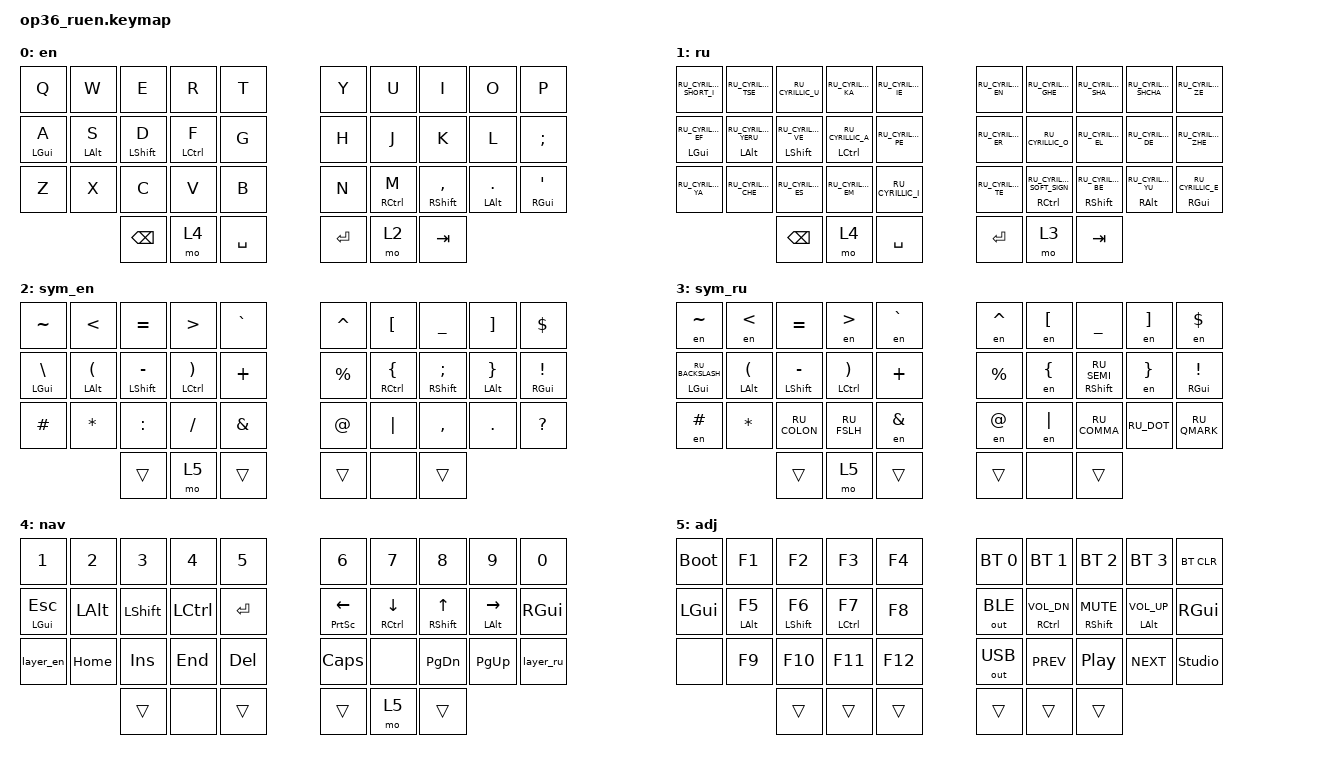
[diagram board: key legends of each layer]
#include "keys_ru.h"
#include "keys_ru.h"
#include <behaviors.dtsi>
#include <dt-bindings/zmk/bt.h>
#include <dt-bindings/zmk/keys.h>
#include <dt-bindings/zmk/outputs.h>

&mt {
    quick-tap-ms = <200>;
    flavor = "tap-preferred";
    require-prior-idle-ms = <125>;
};

/ {
    behaviors {
        hml: home_row_mod_left {
            compatible = "zmk,behavior-hold-tap";
            #binding-cells = <2>;
            flavor = "balanced";
            require-prior-idle-ms = <150>;
            tapping-term-ms = <280>;
            quick-tap-ms = <175>;
            bindings = <&kp>, <&kp>;

            hold-trigger-key-positions = <5 6 7 8 9 15 16 17 18 19 25 26 27 28 29 33 34 35>;
            hold-trigger-on-release;
        };

        hmr: home_row_mod_right {
            compatible = "zmk,behavior-hold-tap";
            #binding-cells = <2>;
            flavor = "balanced";
            require-prior-idle-ms = <150>;
            tapping-term-ms = <280>;
            quick-tap-ms = <175>;
            bindings = <&kp>, <&kp>;

            hold-trigger-key-positions = <0 1 2 3 4 10 11 12 13 14 20 21 22 23 24 30 31 32>;
            hold-trigger-on-release;
        };
    };

    combos {
        compatible = "zmk,combos";

        kha {
            bindings = <&kp RU_CYRILLIC_HA>;
            key-positions = <6 7>;
            layers = <1>;
        };

        hrdsgn {
            bindings = <&kp RU_CYRILLIC_HARD_SIGN>;
            key-positions = <7 8>;
            layers = <1>;
        };

        right_bracket {
            bindings = <&kp RIGHT_BRACE>;
            key-positions = <5 6>;
        };

        left_brace {
            bindings = <&kp LEFT_BRACE>;
            key-positions = <3 4>;
        };

        left_par {
            bindings = <&kp LEFT_PARENTHESIS>;
            key-positions = <13 14>;
        };

        right_par {
            bindings = <&kp RIGHT_PARENTHESIS>;
            key-positions = <15 16>;
        };

        tight_bracket {
            bindings = <&kp RIGHT_BRACKET>;
            key-positions = <25 26>;
        };

        left_bracket {
            bindings = <&kp LEFT_BRACKET>;
            key-positions = <23 24>;
        };
    };

    macros {
        to_ru: to_ru {
            compatible = "zmk,behavior-macro";
            #binding-cells = <0>;
            bindings = <&kp LS(LC(N2))>;
            label = "TO_RU";
        };

        to_en: to_en {
            compatible = "zmk,behavior-macro";
            #binding-cells = <0>;
            bindings = <&kp LS(LC(N1))>;
            label = "TO_EN";
        };

        layer_en: layer_en {
            compatible = "zmk,behavior-macro";
            #binding-cells = <0>;
            bindings = <&to 0 &to_en>;
            label = "LAYER_EN";
        };

        layer_ru: layer_ru {
            compatible = "zmk,behavior-macro";
            #binding-cells = <0>;
            bindings = <&to 1 &to_ru>;
            label = "LAYER_RU";
        };

        en: en {
            compatible = "zmk,behavior-macro-one-param";
            #binding-cells = <1>;
            bindings =
                <&to_en &macro_param_1to1 &kp MACRO_PLACEHOLDER>,
                <&macro_wait_time 10>,
                <&to_ru>,
                <&macro_wait_time 10>;

            label = "EN";
        };
    };

    keymap {
        compatible = "zmk,keymap";

        en {
            bindings = <
  &kp Q        &kp W        &kp E         &kp R          &kp T                          &kp Y  &kp U                 &kp I                   &kp O              &kp P
  &hml LGUI A  &hml LALT S  &hml LSHFT D  &hml LCTRL F   &kp G                          &kp H  &kp J                 &kp K                   &kp L              &kp SEMICOLON
  &kp Z        &kp X        &kp C         &kp V          &kp B                          &kp N  &hmr RIGHT_CONTROL M  &hmr RIGHT_SHIFT COMMA  &hmr LEFT_ALT DOT  &hmr RGUI SQT
                                          &kp BACKSPACE  &mo 4  &kp SPACE    &kp ENTER  &mo 2  &kp TAB
            >;
        };

        ru {
            bindings = <
  &kp RU_CYRILLIC_SHORT_I   &kp RU_CYRILLIC_TSE         &kp RU_CYRILLIC_U          &kp RU_CYRILLIC_KA        &kp RU_CYRILLIC_IE                          &kp RU_CYRILLIC_EN  &kp RU_CYRILLIC_GHE                       &kp RU_CYRILLIC_SHA              &kp RU_CYRILLIC_SHCHA          &kp RU_CYRILLIC_ZE
  &hml LGUI RU_CYRILLIC_EF  &hml LALT RU_CYRILLIC_YERU  &hml LSHFT RU_CYRILLIC_VE  &hml LCTRL RU_CYRILLIC_A  &kp RU_CYRILLIC_PE                          &kp RU_CYRILLIC_ER  &kp RU_CYRILLIC_O                         &kp RU_CYRILLIC_EL               &kp RU_CYRILLIC_DE             &kp RU_CYRILLIC_ZHE
  &kp RU_CYRILLIC_YA        &kp RU_CYRILLIC_CHE         &kp RU_CYRILLIC_ES         &kp RU_CYRILLIC_EM        &kp RU_CYRILLIC_I                           &kp RU_CYRILLIC_TE  &hmr RIGHT_CONTROL RU_CYRILLIC_SOFT_SIGN  &hmr RIGHT_SHIFT RU_CYRILLIC_BE  &hmr RIGHT_ALT RU_CYRILLIC_YU  &hmr RIGHT_GUI RU_CYRILLIC_E
                                                                                   &kp BACKSPACE             &mo 4               &kp SPACE    &kp ENTER  &mo 3               &kp TAB
            >;
        };

        sym_en {
            bindings = <
  &kp TILDE       &kp LT          &kp EQUAL         &kp GT           &kp GRAVE                    &kp CARET  &kp LBKT         &kp UNDER        &kp RBKT        &kp DLLR
  &hml LGUI BSLH  &hml LALT LPAR  &hml LSHFT MINUS  &hml LCTRL RPAR  &kp PLUS                     &kp PRCNT  &hmr RCTRL LBRC  &hmr RSHFT SEMI  &hmr LALT RBRC  &hmr RGUI EXCL
  &kp HASH        &kp STAR        &kp COLON         &kp FSLH         &kp AMPS                     &kp AT     &kp PIPE         &kp COMMA        &kp DOT         &kp QMARK
                                                    &trans           &mo 5      &trans    &trans  &none      &trans
            >;
        };

        sym_ru {
            bindings = <
  &en TILDE               &en LT          &kp EQUAL         &en GT           &en GRAVE                    &en CARET  &en LBKT  &kp UNDER           &en RBKT    &en DLLR
  &hml LGUI RU_BACKSLASH  &hml LALT LPAR  &hml LSHFT MINUS  &hml LCTRL RPAR  &kp PLUS                     &kp PRCNT  &en LBRC  &hmr RSHFT RU_SEMI  &en RBRC    &hmr RGUI EXCL
  &en HASH                &kp STAR        &kp RU_COLON      &kp RU_FSLH      &en AMPS                     &en AT     &en PIPE  &kp RU_COMMA        &kp RU_DOT  &kp RU_QMARK
                                                            &trans           &mo 5      &trans    &trans  &none      &trans
            >;
        };

        nav {
            bindings = <
  &kp N1         &kp N2    &kp N3     &kp N4     &kp N5                        &kp N6                 &kp N7           &kp N8         &kp N9           &kp N0
  &hml LGUI ESC  &kp LALT  &kp LSHFT  &kp LCTRL  &kp ENTER                     &hmr PRINTSCREEN LEFT  &hmr RCTRL DOWN  &hmr RSHFT UP  &hmr LALT RIGHT  &kp RGUI
  &layer_en      &kp HOME  &kp INS    &kp END    &kp DELETE                    &kp CAPS               &none            &kp PG_DN      &kp PG_UP        &layer_ru
                                      &trans     &none       &trans    &trans  &mo 5                  &trans
            >;
        };

        adj {
            bindings = <
  &bootloader  &kp F1        &kp F2         &kp F3         &kp F4                     &bt BT_SEL 0  &bt BT_SEL 1         &bt BT_SEL 2       &bt BT_SEL 3        &bt BT_CLR
  &kp LGUI     &hml LALT F5  &hml LSHFT F6  &hml LCTRL F7  &kp F8                     &out OUT_BLE  &hmr RCTRL C_VOL_DN  &hmr RSHFT C_MUTE  &hmr LALT C_VOL_UP  &kp RGUI
  &none        &kp F9        &kp F10        &kp F11        &kp F12                    &out OUT_USB  &kp C_PREV           &kp C_PP           &kp C_NEXT          &studio_unlock
                                            &trans         &trans   &trans    &trans  &trans        &trans
            >;
        };
    };
};
